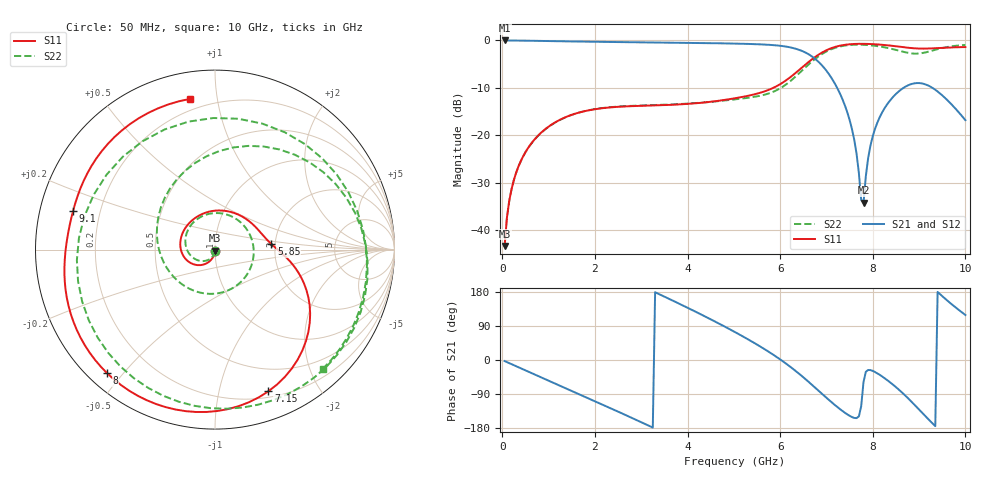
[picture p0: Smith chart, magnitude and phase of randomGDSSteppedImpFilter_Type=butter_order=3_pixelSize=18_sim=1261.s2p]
! freq	dB(S11)	phase(S11)	dB(S12)	phase(S12)
!  dB(S21)	phase(S21)	dB(S22)	phase(S22)
!S-par simulation data
#  GHz  S  DB  R 50
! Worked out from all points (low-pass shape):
!   200 points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, 50 MHz to 10 GHz, reference 50 ohm
!   highest |S21| = -0.01 dB at 50 MHz (marker M1); lowest = -34.2 dB at 7.8 GHz (marker M2)
!   |S21| within 3 dB of the highest: start of sweep to 6.629 GHz
!   lowest |S11| = -43.3 dB at 50 MHz (marker M3), VSWR 1.01, Z = 50 - j0.681 ohm
!   |S11| at or under -10 dB: start of sweep to 5.85 GHz
!   |S22| runs from -43.4 to -0.9 dB; largest |S21 - S12| = 0
!   S11 on the Smith chart (normalised r, x): 50 MHz: 1.00, -0.01; 5.85 GHz: 1.91, +0.13; 7.15 GHz: 0.26, -1.41; 8 GHz: 0.05, -0.45; 9.1 GHz: 0.10, +0.13; 10 GHz: 0.14, +0.84
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0.05  -43.33 -91.7  -0.01 -2.8  -0.01 -2.8  -43.35 -92.6
0.2  -31.33 -99.0  -0.02 -11.0  -0.02 -11.0  -31.35 -102.7
0.5  -23.54 -112.8  -0.05 -27.4  -0.05 -27.4  -23.57 -122.2
1.15  -17.22 -142.0  -0.16 -62.7  -0.16 -62.7  -17.25 -164.6
1.75  -14.97 -167.7  -0.25 -95.2  -0.25 -95.2  -14.96 155.3
2.65  -13.90 156.5  -0.36 -144.5  -0.36 -144.5  -13.85 92.7
3.4  -13.66 125.5  -0.43 173.1  -0.43 173.1  -13.59 39.1
4.3  -13.14 81.3  -0.54 119.7  -0.54 119.7  -13.11 -22.4
5.05  -12.14 40.1  -0.67 72.0  -0.67 72.0  -12.40 -76.0
5.85  -10.00 5.5  -0.99 14.0  -0.99 14.0  -10.82 -159.5
6.3  -7.12 -10.8  -1.65 -25.5  -1.65 -25.5  -7.90 133.9
6.7  -3.88 -34.0  -3.47 -66.9  -3.47 -66.9  -4.34 72.1
7.15  -1.48 -69.4  -8.57 -115.6  -8.57 -115.6  -1.68 8.2
7.55  -0.77 -100.3  -18.65 -150.6  -18.65 -150.6  -0.93 -40.8
7.8  -0.71 -117.9  -34.19 -58.0  -34.19 -58.0  -0.92 -68.9
8  -0.78 -131.1  -20.17 -28.8  -20.17 -28.8  -1.07 -91.6
8.35  -1.06 -152.9  -12.94 -56.7  -12.94 -56.7  -1.64 -135.9
8.7  -1.47 -173.3  -9.77 -93.6  -9.77 -93.6  -2.49 165.7
8.9  -1.66 175.7  -9.04 -118.1  -9.04 -118.1  -2.78 123.8
9.1  -1.73 164.6  -9.15 -143.7  -9.15 -143.7  -2.61 79.9
9.5  -1.55 139.0  -11.57 168.5  -11.57 168.5  -1.60 7.9
10  -1.40 99.4  -16.80 118.6  -16.80 118.6  -0.95 -48.0
